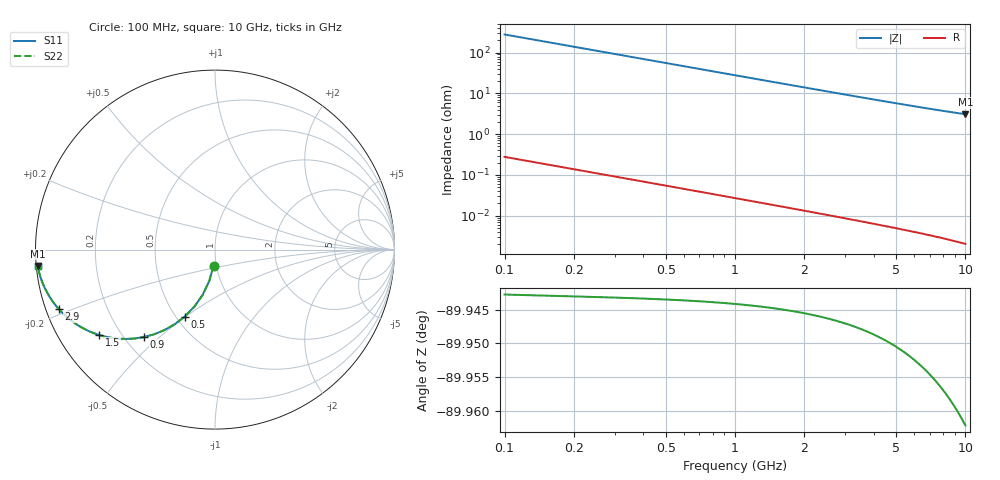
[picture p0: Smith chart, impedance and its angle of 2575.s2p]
# Hz S RI R 50.00
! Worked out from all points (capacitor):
!   100 points, 100 MHz to 10 GHz, reference 50 ohm
!   read as one part in shunt: C = 5.73 pF near 100 MHz
!   lowest |Z| = 3.09 ohm at 10 GHz (marker M1)
!   S11 on the Smith chart (normalised r, x): 100 MHz: 0.97, -0.17; 500 MHz: 0.55, -0.50; 900 MHz: 0.28, -0.45; 1.5 GHz: 0.12, -0.32; 2.9 GHz: 0.04, -0.18; 10 GHz: 0.00, -0.05
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1e8  -0.00808 -0.0891  0.9919 -0.0893  0.9919 -0.0893  -0.00808 -0.0891
2e8  -0.0315 -0.1739  0.9685 -0.1745  0.9685 -0.1745  -0.0315 -0.1739
3e8  -0.068 -0.2509  0.9319 -0.2518  0.9319 -0.2518  -0.068 -0.2509
4e8  -0.1148 -0.3177  0.8852 -0.3189  0.8852 -0.3189  -0.1148 -0.3177
5e8  -0.1684 -0.373  0.8316 -0.3744  0.8316 -0.3744  -0.1684 -0.373
6e8  -0.2256 -0.4167  0.7743 -0.4184  0.7743 -0.4184  -0.2256 -0.4167
7e8  -0.2839 -0.4494  0.7161 -0.4514  0.7161 -0.4514  -0.2839 -0.4494
9e8  -0.3957 -0.4872  0.6042 -0.4898  0.6042 -0.4898  -0.3957 -0.4872
1e9  -0.4469 -0.4953  0.553 -0.4981  0.553 -0.4981  -0.4469 -0.4953
1.2e9  -0.5376 -0.4964  0.4623 -0.4998  0.4623 -0.4998  -0.5376 -0.4964
1.5e9  -0.6448 -0.4759  0.3551 -0.4802  0.3551 -0.4802  -0.6448 -0.4759
1.8e9  -0.7232 -0.4443  0.2767 -0.4495  0.2767 -0.4495  -0.7232 -0.4443
2e9  -0.7632 -0.4217  0.2367 -0.4274  0.2367 -0.4274  -0.7632 -0.4217
2.3e9  -0.8099 -0.3885  0.19 -0.3951  0.19 -0.3951  -0.8099 -0.3885
2.6e9  -0.8448 -0.3578  0.1551 -0.3653  0.1551 -0.3653  -0.8448 -0.3578
2.9e9  -0.8713 -0.3301  0.1286 -0.3385  0.1286 -0.3385  -0.8713 -0.3301
3.4e9  -0.903 -0.2905  0.0969 -0.3003  0.0969 -0.3003  -0.903 -0.2905
4.2e9  -0.9343 -0.241  0.0656 -0.2533  0.0656 -0.2533  -0.9343 -0.241
5.1e9  -0.9545 -0.2  0.0453 -0.2151  0.0453 -0.2151  -0.9545 -0.2
6.7e9  -0.9733 -0.1502  0.0264 -0.1702  0.0264 -0.1702  -0.9733 -0.1502
8.4e9  -0.983 -0.1151  0.0166 -0.1406  0.0166 -0.1406  -0.983 -0.1151
1e10  -0.9881 -0.0912  0.0114 -0.1222  0.0114 -0.1222  -0.9881 -0.0912
